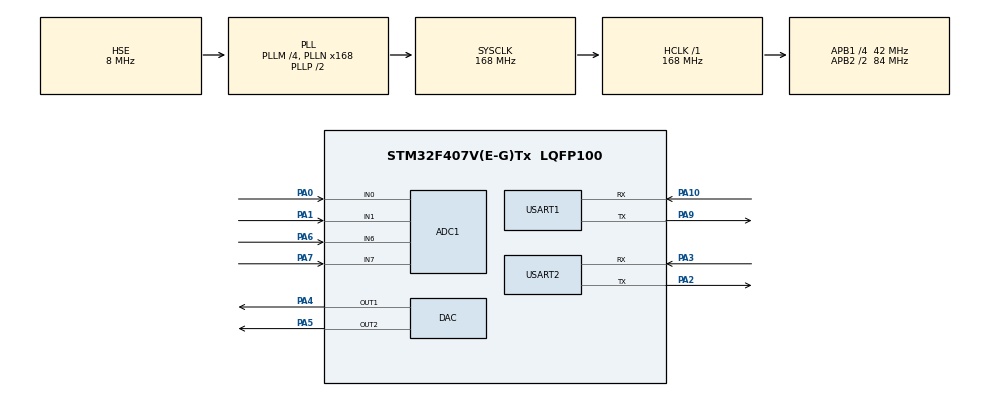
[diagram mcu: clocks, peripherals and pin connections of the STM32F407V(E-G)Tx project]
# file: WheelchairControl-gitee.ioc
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ADC1.Channel-0\#ChannelRegularConversion=ADC_CHANNEL_0
ADC1.Channel-1\#ChannelRegularConversion=ADC_CHANNEL_1
ADC1.Channel-2\#ChannelRegularConversion=ADC_CHANNEL_6
ADC1.Channel-3\#ChannelRegularConversion=ADC_CHANNEL_7
ADC1.ContinuousConvMode=ENABLE
ADC1.DMAContinuousRequests=ENABLE
ADC1.NbrOfConversion=4
ADC1.NbrOfConversionFlag=1
ADC1.Rank-0\#ChannelRegularConversion=1
ADC1.Rank-1\#ChannelRegularConversion=2
ADC1.Rank-2\#ChannelRegularConversion=3
ADC1.Rank-3\#ChannelRegularConversion=4
ADC1.SamplingTime-0\#ChannelRegularConversion=ADC_SAMPLETIME_144CYCLES
ADC1.SamplingTime-1\#ChannelRegularConversion=ADC_SAMPLETIME_144CYCLES
ADC1.SamplingTime-2\#ChannelRegularConversion=ADC_SAMPLETIME_84CYCLES
ADC1.SamplingTime-3\#ChannelRegularConversion=ADC_SAMPLETIME_84CYCLES
ADC1.ScanConvMode=ENABLE
ADC1.master=1
Dma.ADC1.0.Direction=DMA_PERIPH_TO_MEMORY
Dma.ADC1.0.FIFOMode=DMA_FIFOMODE_DISABLE
Dma.ADC1.0.Instance=DMA2_Stream0
Dma.ADC1.0.MemDataAlignment=DMA_MDATAALIGN_HALFWORD
Dma.ADC1.0.MemInc=DMA_MINC_ENABLE
Dma.ADC1.0.Mode=DMA_CIRCULAR
Dma.ADC1.0.PeriphDataAlignment=DMA_PDATAALIGN_HALFWORD
Dma.ADC1.0.PeriphInc=DMA_PINC_DISABLE
Dma.ADC1.0.Priority=DMA_PRIORITY_LOW
Dma.Request0=ADC1
Mcu.Family=STM32F4
Mcu.Name=STM32F407V(E-G)Tx
Mcu.Package=LQFP100
NVIC.DMA2_Stream0_IRQn=true\:0\:0\:false\:false\:true\:false\:true\:true
NVIC.PriorityGroup=NVIC_PRIORITYGROUP_4
NVIC.USART2_IRQn=true\:0\:0\:false\:false\:true\:true\:true\:true
PA0-WKUP.Signal=ADCx_IN0
PA1.Signal=ADCx_IN1
PA10.Mode=Asynchronous
PA10.Signal=USART1_RX
PA13.Mode=Serial_Wire
PA13.Signal=SYS_JTMS-SWDIO
PA14.Mode=Serial_Wire
PA14.Signal=SYS_JTCK-SWCLK
PA2.Mode=Asynchronous
PA2.Signal=USART2_TX
PA3.Mode=Asynchronous
PA3.Signal=USART2_RX
PA4.Signal=COMP_DAC1_group
PA5.Signal=COMP_DAC2_group
PA6.Signal=ADCx_IN6
PA7.Signal=ADCx_IN7
PA9.Mode=Asynchronous
PA9.Signal=USART1_TX
PH0-OSC_IN.Mode=HSE-External-Oscillator
PH0-OSC_IN.Signal=RCC_OSC_IN
PH1-OSC_OUT.Mode=HSE-External-Oscillator
PH1-OSC_OUT.Signal=RCC_OSC_OUT
ProjectManager.HeapSize=0x200
ProjectManager.StackSize=0x400
ProjectManager.TargetToolchain=STM32CubeIDE
RCC.48MHZClocksFreq_Value=84000000
RCC.AHBFreq_Value=168000000
RCC.APB1CLKDivider=RCC_HCLK_DIV4
RCC.APB1Freq_Value=42000000
RCC.APB1TimFreq_Value=84000000
RCC.APB2CLKDivider=RCC_HCLK_DIV2
RCC.APB2Freq_Value=84000000
RCC.APB2TimFreq_Value=168000000
RCC.CortexFreq_Value=168000000
RCC.HCLKFreq_Value=168000000
RCC.HSE_VALUE=8000000
RCC.HSI_VALUE=16000000
RCC.LSE_VALUE=32768
RCC.PLLM=4
RCC.PLLN=168
RCC.PLLSourceVirtual=RCC_PLLSOURCE_HSE
RCC.SYSCLKFreq_VALUE=168000000
RCC.SYSCLKSource=RCC_SYSCLKSOURCE_PLLCLK
RCC.VCOOutputFreq_Value=336000000
SH.ADCx_IN0.0=ADC1_IN0,IN0
SH.ADCx_IN1.0=ADC1_IN1,IN1
SH.ADCx_IN6.0=ADC1_IN6,IN6
SH.ADCx_IN7.0=ADC1_IN7,IN7
SH.COMP_DAC1_group.0=DAC_OUT1,DAC_OUT1
SH.COMP_DAC2_group.0=DAC_OUT2,DAC_OUT2
USART1.VirtualMode=VM_ASYNC
USART2.VirtualMode=VM_ASYNC
board=custom

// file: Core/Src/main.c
/* USER CODE BEGIN Header */
/**
  ******************************************************************************
  * @file           : main.c
  * @brief          : Main program body
  ******************************************************************************
  * @attention
  *
  * Copyright (c) 2025 STMicroelectronics.
  * All rights reserved.
  *
  * This software is licensed under terms that can be found in the LICENSE file
  * in the root directory of this software component.
  * If no LICENSE file comes with this software, it is provided AS-IS.
  *
  ******************************************************************************
  */
/* USER CODE END Header */
#include "main.h"
#include "adc.h"
#include "dac.h"
#include "dma.h"
#include "usart.h"
#include "gpio.h"

/* USER CODE BEGIN Includes */
#include <stdio.h>  // 用于 sprintf
#include <string.h> // 用于 strlen
#include "ir_avoidance.h"
/* USER CODE END Includes */

/* USER CODE BEGIN PV */

// 1. ADC 数据存储 (DMA 自动搬运)
volatile uint16_t adc_values[4];

// 2. 调试打印缓冲区
char uart_buf[100];

// 3. 树莓派命令接收相关
uint8_t rx_buffer[1];
volatile char pi_command = 'S'; // 默认停止

// 4. 速度控制相关
uint8_t current_gear = 3;       // 当前档位 (默认3档)
float speed_ratio = 1.0f;       // 速度系数

// 5. 核心阈值定义 (适配 3.3V 全量程)
#define JOY_CENTER  2048        // 1.65V 对应 4095 的一半
#define DEADZONE    300         // 死区

// 6. 最大偏移量定义 (0-2048 之间)
// 从 2000 减少到 1200：使前进输出 Y≈848(0.69V) 而非 48(0.039V)，电机驱动更稳定
#define MAX_DEV     1200

// 7. DAC 安全输出边界 (12-bit: 0-4095)
// 避免打到上下电源轨，降低外部模拟链路出现极值误判的风险
#define DAC_SAFE_MIN 1
#define DAC_SAFE_MAX 4094

/* USER CODE END PV */

void SystemClock_Config(void);
/* USER CODE BEGIN PFP */
void MX_USART1_UART_Init(void);
void MX_USART2_UART_Init(void);

/* USER CODE END PFP */

/* USER CODE BEGIN 0 */

static inline uint16_t clamp_u12_safe(uint16_t v)
{
  if (v < DAC_SAFE_MIN) {
    return DAC_SAFE_MIN;
  }
  if (v > DAC_SAFE_MAX) {
    return DAC_SAFE_MAX;
  }
  return v;
}

/* USER CODE END 0 */

int main(void)
{

  /* MCU Configuration--------------------------------------------------------*/

  /* Reset of all peripherals, Initializes the Flash interface and the Systick. */
  HAL_Init();

  /* Configure the system clock */
  SystemClock_Config();

  /* Initialize all configured peripherals */
  MX_GPIO_Init();
  MX_DMA_Init();
  MX_ADC1_Init();
  MX_DAC_Init();
  MX_USART2_UART_Init();
  MX_USART1_UART_Init();
  /* USER CODE BEGIN 2 */

  // 启动 ADC1 并开启 DMA 模式，数据存入 adc_values 数组 (扩展为 4 通道)
  HAL_ADC_Start_DMA(&hadc1, (uint32_t*)adc_values, 4);
  // // 启动 DAC 通道 1 (PA4)
  HAL_DAC_Start(&hdac, DAC_CHANNEL_1);
  // // 启动 DAC 通道 2 (PA5)
  HAL_DAC_Start(&hdac, DAC_CHANNEL_2);

  IR_Avoidance_Init();

  HAL_UART_Receive_IT(&huart2, rx_buffer, 1);

  /* USER CODE END 2 */

  /* Infinite loop */
  while (1)
  {

    /* USER CODE BEGIN 3 */
    /*
    * 此时，DMA 正在后台自动、连续地：
    * 1. 转换 PA0 (X轴) -> 存入 adc_values[0]
    * 2. 转换 PA1 (Y轴) -> 存入 adc_values[1]
    * 3. 转换 PA6 (左红外) -> 存入 adc_values[2]
    * 4. 转换 PA7 (右红外) -> 存入 adc_values[3]
    */

    // 1. 获取当前传感器原始数据
    uint16_t x_raw = adc_values[0];
    uint16_t y_raw = adc_values[1];
    uint16_t ir_left = adc_values[2];
    uint16_t ir_right = adc_values[3];

    // 2. 红外避障处理：获取动态速度系数
    float ir_speed_limit = IR_Avoidance_Process(ir_left, ir_right);

    // 3. 准备 DAC 输出变量
    uint16_t dac_x = JOY_CENTER;
    uint16_t dac_y = JOY_CENTER;
    uint8_t manual_override = ((x_raw > JOY_CENTER + DEADZONE || x_raw < JOY_CENTER - DEADZONE) ||
                   (y_raw > JOY_CENTER + DEADZONE || y_raw < JOY_CENTER - DEADZONE));
    uint8_t ir_blocked = (IR_GetState() == IR_STATE_BLOCKED_REVERSE);

    // 4. 安全仲裁逻辑
    if (ir_blocked)
    {
      // 【状态 A：红外强制接管】危险距离时优先后退，禁止摇杆继续前进
      IR_Apply_Safety_Override(&dac_x, &dac_y);
    }
    else if (manual_override)
    {
        // 【状态 A：人工接管】直接透传原生 ADC 值到 DAC
        dac_x = x_raw;
        dac_y = y_raw;
    }
    else
    {
        // 【状态 B：语音控制】基于 (档位系数 * 避障限速系数) 线性缩放
        uint16_t current_dev = (uint16_t)(MAX_DEV * speed_ratio * ir_speed_limit);
        if (current_dev > MAX_DEV) {
          current_dev = MAX_DEV;
        }
        if (current_dev > (JOY_CENTER - 1U)) {
          current_dev = (JOY_CENTER - 1U);
        }

        switch (pi_command)
        {
            case 'F': // 前进
                dac_x = JOY_CENTER;
                dac_y = JOY_CENTER - current_dev;
                break;

            case 'B': // 后退
                dac_x = JOY_CENTER;
                dac_y = JOY_CENTER + current_dev;
                break;

            case 'L': // 左转
                dac_x = JOY_CENTER - current_dev;
                dac_y = JOY_CENTER;
                break;

            case 'R': // 右转
                dac_x = JOY_CENTER + current_dev;
                dac_y = JOY_CENTER;
                break;

            case 'S': // 停止
            default:
                dac_x = JOY_CENTER;
                dac_y = JOY_CENTER;
                break;
        }
    }

      // 统一输出钳位，确保最终写入 DAC 的值始终落在安全边界内
      dac_x = clamp_u12_safe(dac_x);
      dac_y = clamp_u12_safe(dac_y);

    // 执行 DAC 输出
    HAL_DAC_SetValue(&hdac, DAC_CHANNEL_1, DAC_ALIGN_12B_R, dac_x);
    HAL_DAC_SetValue(&hdac, DAC_CHANNEL_2, DAC_ALIGN_12B_R, dac_y);

    // --- 修改调试打印 ---
    if (HAL_UART_GetState(&huart1) == HAL_UART_STATE_READY)
    {
      int len = sprintf(uart_buf, "G:%u IR:%d%% IRS:%s | CMD:%c | ADC(X:%u, Y:%u, L:%u, R:%u) | DAC(X:%u, Y:%u)\r\n",
        current_gear, (int)(ir_speed_limit * 100), IR_GetStateString(), pi_command, x_raw, y_raw, ir_left, ir_right, dac_x, dac_y);
        HAL_UART_Transmit(&huart1, (uint8_t*)uart_buf, len, 10);
    }

    HAL_Delay(50);

  }
  /* USER CODE END 3 */
}

void SystemClock_Config(void)
{
  RCC_OscInitTypeDef RCC_OscInitStruct = {0};
  RCC_ClkInitTypeDef RCC_ClkInitStruct = {0};

  /** Configure the main internal regulator output voltage
  */
  __HAL_RCC_PWR_CLK_ENABLE();
  __HAL_PWR_VOLTAGESCALING_CONFIG(PWR_REGULATOR_VOLTAGE_SCALE1);

  /** Initializes the RCC Oscillators according to the specified parameters
  * in the RCC_OscInitTypeDef structure.
  */
  RCC_OscInitStruct.OscillatorType = RCC_OSCILLATORTYPE_HSE;
  RCC_OscInitStruct.HSEState = RCC_HSE_ON;
  RCC_OscInitStruct.PLL.PLLState = RCC_PLL_ON;
  RCC_OscInitStruct.PLL.PLLSource = RCC_PLLSOURCE_HSE;
  RCC_OscInitStruct.PLL.PLLM = 4;
  RCC_OscInitStruct.PLL.PLLN = 168;
  RCC_OscInitStruct.PLL.PLLP = RCC_PLLP_DIV2;
  RCC_OscInitStruct.PLL.PLLQ = 4;
  if (HAL_RCC_OscConfig(&RCC_OscInitStruct) != HAL_OK)
  {
    Error_Handler();
  }

  /** Initializes the CPU, AHB and APB buses clocks
  */
  RCC_ClkInitStruct.ClockType = RCC_CLOCKTYPE_HCLK|RCC_CLOCKTYPE_SYSCLK
                              |RCC_CLOCKTYPE_PCLK1|RCC_CLOCKTYPE_PCLK2;
  RCC_ClkInitStruct.SYSCLKSource = RCC_SYSCLKSOURCE_PLLCLK;
  RCC_ClkInitStruct.AHBCLKDivider = RCC_SYSCLK_DIV1;
  RCC_ClkInitStruct.APB1CLKDivider = RCC_HCLK_DIV4;
  RCC_ClkInitStruct.APB2CLKDivider = RCC_HCLK_DIV2;

  if (HAL_RCC_ClockConfig(&RCC_ClkInitStruct, FLASH_LATENCY_5) != HAL_OK)
  {
    Error_Handler();
  }
}

/* USER CODE BEGIN 4 */

// UART 接收完成回调函数
void HAL_UART_RxCpltCallback(UART_HandleTypeDef *huart)
{
    if (huart->Instance == USART2)
    {
        char cmd = rx_buffer[0];

        // --- 【加减速逻辑】 ---
        if (cmd == 'D') // Decelerate (减速/降档)
        {
            if (current_gear > 1) {
                current_gear--; // 降一档
            }
            // 如果已经是 1档，就不动了
        }
        else if (cmd == 'A') // Accelerate (加速/升档)
        {
            if (current_gear < 3) {
                current_gear++; // 升一档
            }
            // 如果已经是 3档，就不动了
        }

        // --- 【运动指令逻辑】 ---
        // 只有 F, B, L, R, S 才会改变运动状态
        else if (cmd == 'F' || cmd == 'B' || cmd == 'L' || cmd == 'R' || cmd == 'S')
        {
            pi_command = cmd;
        }

        // --- 【统一更新速度系数】 ---
        // 根据当前的档位，刷新 speed_ratio
        switch (current_gear)
        {
            case 1: speed_ratio = 0.3f; break; // 1档: 30%
            case 2: speed_ratio = 0.6f; break; // 2档: 60%
            case 3: speed_ratio = 1.0f; break; // 3档: 100%
        }

        // 重新开启中断
        HAL_UART_Receive_IT(&huart2, rx_buffer, 1);
    }
}

/* USER CODE END 4 */

void Error_Handler(void)
{
  __disable_irq();
  while (1)
  {
  }
}
